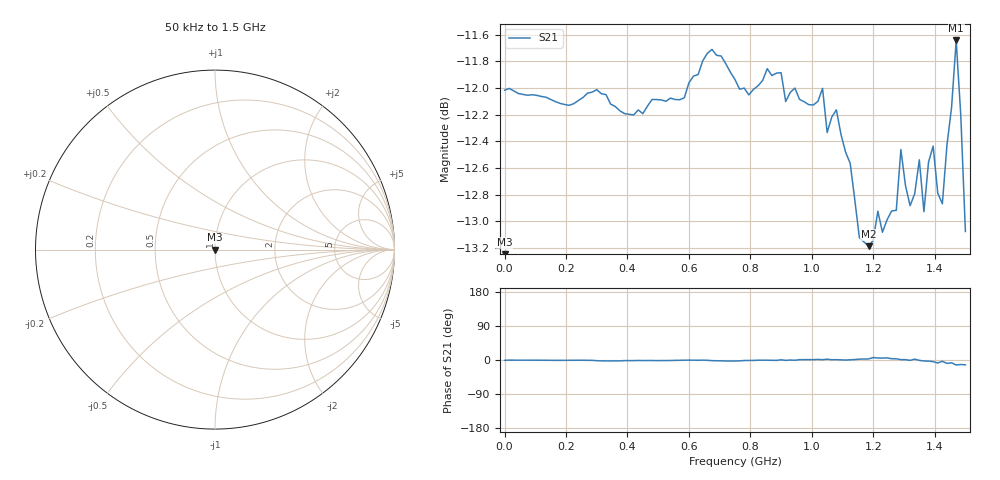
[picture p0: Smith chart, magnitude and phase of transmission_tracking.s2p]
! Created with skrf 1.8.0 (http://scikit-rf.org).
# Hz S RI R 50.0
!freq ReS11 ImS11 ReS21 ImS21 ReS12 ImS12 ReS22 ImS22
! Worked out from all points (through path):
!   101 points, 50 kHz to 1.5 GHz, reference 50 ohm
!   highest |S21| = -11.64 dB at 1.47 GHz (marker M1); lowest = -13.2 dB at 1.185 GHz (marker M2)
!   lowest |S11| = - dB at 50 kHz (marker M3), VSWR 1.00, Z = 50 + j0 ohm
!   |S11| at or under -10 dB: start of sweep to end of sweep
!   S12 and S22 are empty: the file has one direction only
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50000  0 0  0.2507 -0.00376  0 0  0 0
2.550415e8  0 0  0.2491 -0.00275  0 0  0 0
5.10033e8  0 0  0.2485 -0.00639  0 0  0 0
6.750275e8  0 0  0.2596 -0.00757  0 0  0 0
7.50025e8  0 0  0.2527 -0.0114  0 0  0 0
1.005016e9  0 0  0.2475 0.00408  0 0  0 0
1.080014e9  0 0  0.2464 0.00374  0 0  0 0
1.155012e9  0 0  0.2205 0.0091  0 0  0 0
1.18501e9  0 0  0.2189 0.0106  0 0  0 0
1.20001e9  0 0  0.2189 0.0251  0 0  0 0
1.260008e9  0 0  0.2255 0.0132  0 0  0 0
1.290007e9  0 0  0.2381 0.00427  0 0  0 0
1.335006e9  0 0  0.2291 0.00894  0 0  0 0
1.350005e9  0 0  0.236 -0.0037  0 0  0 0
1.365004e9  0 0  0.2255 -0.0105  0 0  0 0
1.395004e9  0 0  0.2382 -0.0177  0 0  0 0
1.410003e9  0 0  0.2272 -0.0317  0 0  0 0
1.425002e9  0 0  0.2269 -0.0141  0 0  0 0
1.440002e9  0 0  0.2362 -0.0369  0 0  0 0
1.455002e9  0 0  0.2449 -0.0322  0 0  0 0
1.470001e9  0 0  0.2548 -0.0594  0 0  0 0
1.5e9  0 0  0.2165 -0.0488  0 0  0 0
